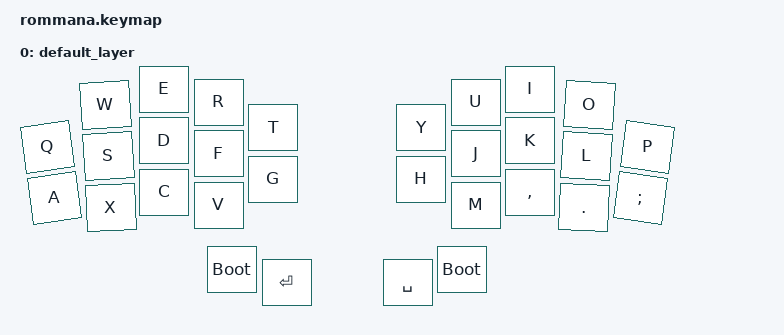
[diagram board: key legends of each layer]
#include <behaviors.dtsi>
#include <dt-bindings/zmk/keys.h>

/ {
    keymap {
        compatible = "zmk,keymap";

        default_layer {
            bindings = <
&kp Q &kp W &kp E &kp R       &kp T      &kp Y     &kp U  &kp I     &kp O   &kp P
&kp A &kp S &kp D &kp F       &kp G      &kp H     &kp J  &kp K     &kp L   &kp SEMI
      &kp X &kp C &kp V                            &kp M  &kp COMMA &kp DOT
                  &bootloader &kp RET    &kp SPACE &bootloader
            >;
        };
    };
};
